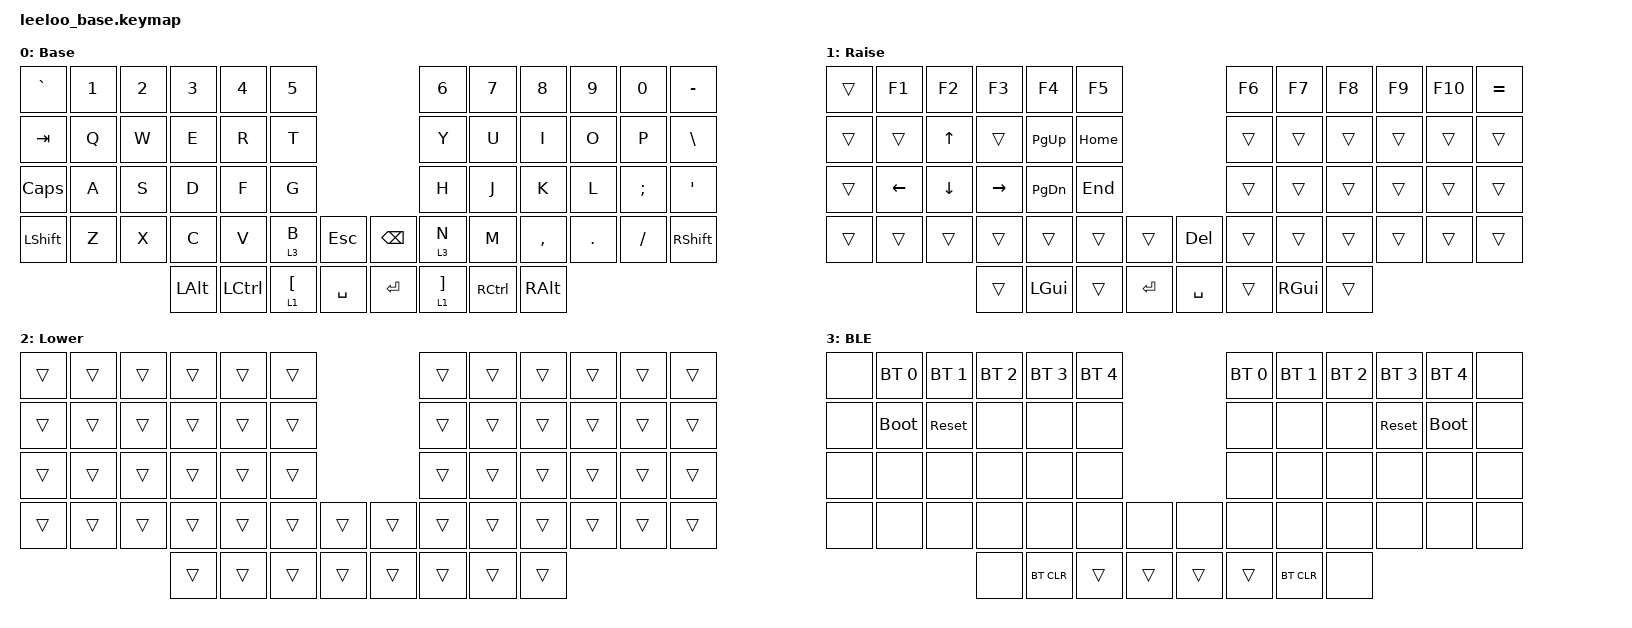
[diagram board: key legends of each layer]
/*
 * Copyright (c) 2023 The ZMK Contributors
 * SPDX-License-Identifier: MIT
 */

#include <behaviors.dtsi>
#include <dt-bindings/zmk/outputs.h>
#include <dt-bindings/zmk/keys.h>
#include <dt-bindings/zmk/bt.h>

/*
 * Leeloo Base Keymap
 *
 * This file contains the shared keymap definition for the Leeloo keyboard.
 * It is included by both the main keyboard halves keymap and the dongle keymap
 * to ensure consistent key mappings across all configurations.
 *
 * Hardware-specific configurations (like nice_view_spi) should be defined
 * in the including keymap files, not here.
 */

/ {
    combos {
        compatible = "zmk,combos";
    };

    keymap {
        compatible = "zmk,keymap";

        default_layer {
            display-name = " Base";
            bindings = <
&kp GRAVE  &kp N1  &kp N2  &kp N3    &kp N4     &kp N5                                        &kp N6               &kp N7     &kp N8         &kp N9   &kp N0    &kp MINUS
&kp TAB    &kp Q   &kp W   &kp E     &kp R      &kp T                                         &kp Y                &kp U      &kp I          &kp O    &kp P     &kp BACKSLASH
&kp CAPS   &kp A   &kp S   &kp D     &kp F      &kp G                                         &kp H                &kp J      &kp K          &kp L    &kp SEMI  &kp SQT
&kp LSHFT  &kp Z   &kp X   &kp C     &kp V      &lt 3 B             &kp ESC    &kp BACKSPACE  &lt 3 N              &kp M      &kp COMMA      &kp DOT  &kp FSLH  &kp RSHFT
                           &kp LALT  &kp LCTRL  &lt 1 LEFT_BRACKET  &kp SPACE  &kp RET        &lt 1 RIGHT_BRACKET  &kp RCTRL  &kp RIGHT_ALT
            >;
        };

        raise_layer {
            display-name = " Raise";
            bindings = <
&trans  &kp F1    &kp F2    &kp F3     &kp F4         &kp F5                         &kp F6  &kp F7    &kp F8  &kp F9  &kp F10  &kp EQUAL
&trans  &trans    &kp UP    &trans     &kp PAGE_UP    &kp HOME                       &trans  &trans    &trans  &trans  &trans   &trans
&trans  &kp LEFT  &kp DOWN  &kp RIGHT  &kp PAGE_DOWN  &kp END                        &trans  &trans    &trans  &trans  &trans   &trans
&trans  &trans    &trans    &trans     &trans         &trans    &trans   &kp DELETE  &trans  &trans    &trans  &trans  &trans   &trans
                            &trans     &kp LGUI       &trans    &kp RET  &kp SPACE   &trans  &kp RGUI  &trans
            >;
        };

        lower_layer {
            display-name = " Lower";
            bindings = <
&trans  &trans  &trans  &trans  &trans  &trans                  &trans  &trans  &trans  &trans  &trans  &trans
&trans  &trans  &trans  &trans  &trans  &trans                  &trans  &trans  &trans  &trans  &trans  &trans
&trans  &trans  &trans  &trans  &trans  &trans                  &trans  &trans  &trans  &trans  &trans  &trans
&trans  &trans  &trans  &trans  &trans  &trans  &trans  &trans  &trans  &trans  &trans  &trans  &trans  &trans
                        &trans  &trans  &trans  &trans  &trans  &trans  &trans  &trans
            >;
        };

        firmware_layer {
            display-name = " BLE";
            bindings = <
&none  &bt BT_SEL 0  &bt BT_SEL 1  &bt BT_SEL 2  &bt BT_SEL 3  &bt BT_SEL 4                  &bt BT_SEL 0  &bt BT_SEL 1  &bt BT_SEL 2  &bt BT_SEL 3  &bt BT_SEL 4  &none
&none  &bootloader   &sys_reset    &none         &none         &none                         &none         &none         &none         &sys_reset    &bootloader   &none
&none  &none         &none         &none         &none         &none                         &none         &none         &none         &none         &none         &none
&none  &none         &none         &none         &none         &none         &none   &none   &none         &none         &none         &none         &none         &none
                                   &none         &bt BT_CLR    &trans        &trans  &trans  &trans        &bt BT_CLR    &none
            >;
        };
    };
};
